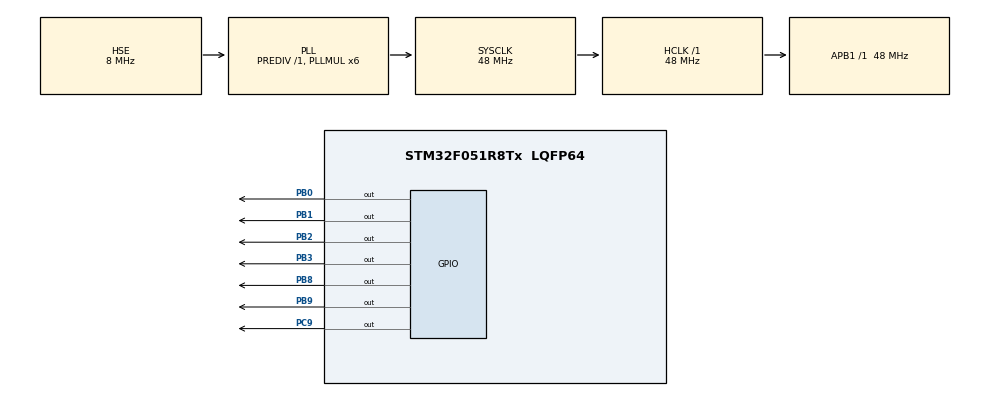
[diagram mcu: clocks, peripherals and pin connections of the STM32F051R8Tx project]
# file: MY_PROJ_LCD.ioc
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Mcu.Family=STM32F0
Mcu.Name=STM32F051R8Tx
Mcu.Package=LQFP64
PA13.Mode=Serial_Wire
PA13.Signal=SYS_SWDIO
PA14.Mode=Serial_Wire
PA14.Signal=SYS_SWCLK
PB0.Signal=GPIO_Output
PB1.Signal=GPIO_Output
PB2.Signal=GPIO_Output
PB3.Signal=GPIO_Output
PB8.Signal=GPIO_Output
PB9.Signal=GPIO_Output
PC9.Signal=GPIO_Output
PF0-OSC_IN.Mode=HSE-External-Oscillator
PF0-OSC_IN.Signal=RCC_OSC_IN
PF1-OSC_OUT.Mode=HSE-External-Oscillator
PF1-OSC_OUT.Signal=RCC_OSC_OUT
ProjectManager.HeapSize=0x200
ProjectManager.StackSize=0x400
ProjectManager.TargetToolchain=STM32CubeIDE
RCC.AHBFreq_Value=48000000
RCC.APB1Freq_Value=48000000
RCC.APB1TimFreq_Value=48000000
RCC.HCLKFreq_Value=48000000
RCC.PLLMUL=RCC_PLL_MUL6
RCC.PLLSourceVirtual=RCC_PLLSOURCE_HSE
RCC.SYSCLKFreq_VALUE=48000000
RCC.SYSCLKSource=RCC_SYSCLKSOURCE_PLLCLK
board=STM32F0DISCOVERY

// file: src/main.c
/* USER CODE BEGIN Header */
/**
  ******************************************************************************
  * @file           : main.c
  * @brief          : Main program body
  ******************************************************************************
  * @attention
  *
  * <h2><center>&copy; Copyright (c) 2020 STMicroelectronics.
  * All rights reserved.</center></h2>
  *
  * This software component is licensed by ST under BSD 3-Clause license,
  * the "License"; You may not use this file except in compliance with the
  * License. You may obtain a copy of the License at:
  *                        opensource.org/licenses/BSD-3-Clause
  *
  ******************************************************************************
  */
/* USER CODE END Header */

#include <LCD.h>
#include "main.h"

/* USER CODE BEGIN Includes */
#include "stdio.h"

/* USER CODE END Includes */

void SystemClock_Config(void);
static void MX_GPIO_Init(void);

int main(void)
{
  /* USER CODE BEGIN 1 */
	char str[100];
	//uint8_t i = 0;
  /* USER CODE END 1 */

  /* MCU Configuration--------------------------------------------------------*/

  /* Reset of all peripherals, Initializes the Flash interface and the Systick. */
  HAL_Init();

  /* Configure the system clock */
  SystemClock_Config();

  /* Initialize all configured peripherals */
  MX_GPIO_Init();
  /* USER CODE BEGIN 2 */

  LCD_ini();
 // LCD_LedOnOff(0);
  LCD_SetPos(3,0);
  sprintf(str, "Hello World!");
  LCD_String(str);
  HAL_Delay(1000);
  LCD_Clear();
  LCD_SetPos(4,1);
  sprintf(str, "S");
  LCD_String(str);
  HAL_Delay(1000);
  LCD_Clear();
  LCD_SetPos(8,0);
  sprintf(str, "T");
  LCD_String(str);
  HAL_Delay(1000);
  LCD_Clear();
  LCD_SetPos(6,1);
  sprintf(str, "M");
  LCD_String(str);
  HAL_Delay(1000);
  LCD_Clear();
  LCD_SetPos(16,0);
  sprintf(str, "STM32F051RGT6");
  LCD_String(str);

  /* USER CODE END 2 */

  /* Infinite loop */
  /* USER CODE BEGIN WHILE */
  while (1)
  {
	 // HAL_GPIO_TogglePin(GPIOC, GPIO_PIN_9);
	  HAL_Delay(300);
	  LCD_StringRunL();
	  /*
	  for (uint8_t k = 1; k < 35; k++)
	  {
		  HAL_Delay(300);
		  LCD_StringRunR()
	  }

	  LCD_SetPos(13,1);
	  LCD_SendChar((char) ((i/100)%10)+0x30);
	  LCD_SendChar((char) ((i/10)%10)+0x30);
	  LCD_SendChar((char) (i%10)+0x30);
	  HAL_Delay(300);
	  i++;
	*/
    /* USER CODE END WHILE */

  }
}

void SystemClock_Config(void)
{
  RCC_OscInitTypeDef RCC_OscInitStruct = {0};
  RCC_ClkInitTypeDef RCC_ClkInitStruct = {0};

  /** Initializes the CPU, AHB and APB busses clocks
  */
  RCC_OscInitStruct.OscillatorType = RCC_OSCILLATORTYPE_HSE;
  RCC_OscInitStruct.HSEState = RCC_HSE_ON;
  RCC_OscInitStruct.PLL.PLLState = RCC_PLL_ON;
  RCC_OscInitStruct.PLL.PLLSource = RCC_PLLSOURCE_HSE;
  RCC_OscInitStruct.PLL.PLLMUL = RCC_PLL_MUL6;
  RCC_OscInitStruct.PLL.PREDIV = RCC_PREDIV_DIV1;
  if (HAL_RCC_OscConfig(&RCC_OscInitStruct) != HAL_OK)
  {
    Error_Handler();
  }
  /** Initializes the CPU, AHB and APB busses clocks
  */
  RCC_ClkInitStruct.ClockType = RCC_CLOCKTYPE_HCLK|RCC_CLOCKTYPE_SYSCLK
                              |RCC_CLOCKTYPE_PCLK1;
  RCC_ClkInitStruct.SYSCLKSource = RCC_SYSCLKSOURCE_PLLCLK;
  RCC_ClkInitStruct.AHBCLKDivider = RCC_SYSCLK_DIV1;
  RCC_ClkInitStruct.APB1CLKDivider = RCC_HCLK_DIV1;

  if (HAL_RCC_ClockConfig(&RCC_ClkInitStruct, FLASH_LATENCY_1) != HAL_OK)
  {
    Error_Handler();
  }
}

static void MX_GPIO_Init(void)
{
  GPIO_InitTypeDef GPIO_InitStruct = {0};

  /* GPIO Ports Clock Enable */
  __HAL_RCC_GPIOF_CLK_ENABLE();
  __HAL_RCC_GPIOB_CLK_ENABLE();
  __HAL_RCC_GPIOC_CLK_ENABLE();
  __HAL_RCC_GPIOA_CLK_ENABLE();

  /*Configure GPIO pin Output Level */
  HAL_GPIO_WritePin(GPIOB, GPIO_PIN_0|GPIO_PIN_1|GPIO_PIN_2|GPIO_PIN_3
                          |GPIO_PIN_8|GPIO_PIN_9, GPIO_PIN_RESET);

  /*Configure GPIO pin Output Level */
  HAL_GPIO_WritePin(GPIOC, GPIO_PIN_9, GPIO_PIN_RESET);

  /*Configure GPIO pins : PB0 PB1 PB2 PB3
                           PB8 PB9 */
  GPIO_InitStruct.Pin = GPIO_PIN_0|GPIO_PIN_1|GPIO_PIN_2|GPIO_PIN_3
                          |GPIO_PIN_8|GPIO_PIN_9;
  GPIO_InitStruct.Mode = GPIO_MODE_OUTPUT_PP;
  GPIO_InitStruct.Pull = GPIO_NOPULL;
  GPIO_InitStruct.Speed = GPIO_SPEED_FREQ_LOW;
  HAL_GPIO_Init(GPIOB, &GPIO_InitStruct);

  /*Configure GPIO pin : PC9 */
  GPIO_InitStruct.Pin = GPIO_PIN_9;
  GPIO_InitStruct.Mode = GPIO_MODE_OUTPUT_PP;
  GPIO_InitStruct.Pull = GPIO_NOPULL;
  GPIO_InitStruct.Speed = GPIO_SPEED_FREQ_LOW;
  HAL_GPIO_Init(GPIOC, &GPIO_InitStruct);

}

void Error_Handler(void)
{
}

/************************ (C) COPYRIGHT STMicroelectronics *****END OF FILE****/
